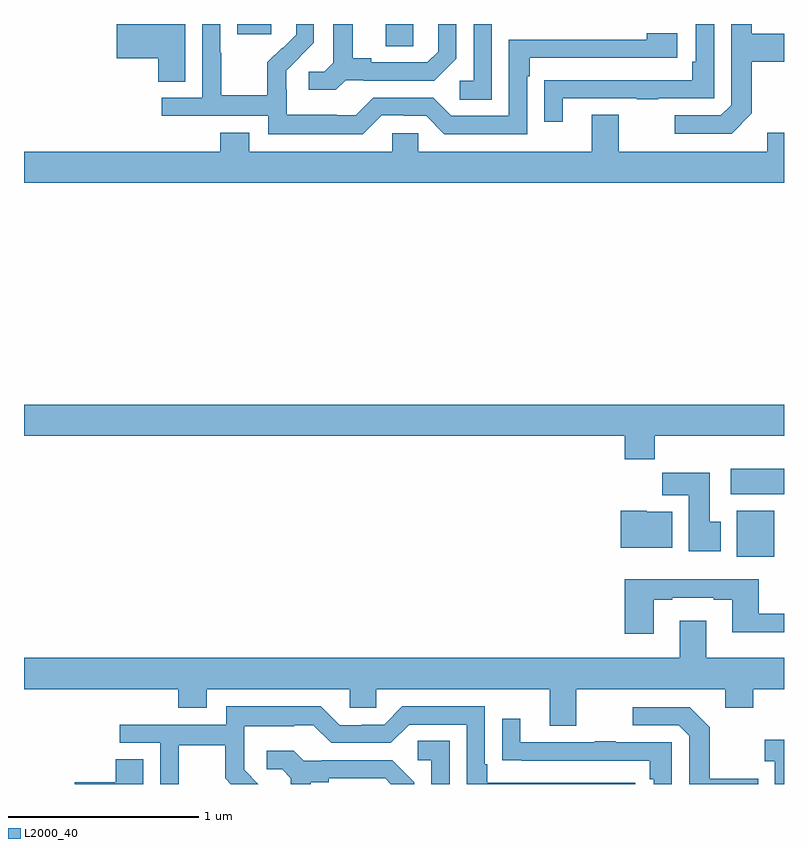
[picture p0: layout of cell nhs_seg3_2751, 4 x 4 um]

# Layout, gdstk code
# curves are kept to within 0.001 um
import gdstk
lib = gdstk.Library(unit=1e-6, precision=1e-09)
def R(c, l, rs):  # rectangles x0, y0, x1, y1
    for r in rs: c.add(gdstk.rectangle(r[:2], r[2:], *l))
def P(c, l, *ps):  # polygons
    for p in ps: c.add(gdstk.Polygon(p, *l))
L2000_40 = (2000, 40)

nhs_seg3_2751 = lib.new_cell('nhs_seg3_2751')
R(nhs_seg3_2751, L2000_40, [(256.751,717.596,256.948,717.838), (256.719,717.926,257,718.06), (254.903,720.283,255.048,720.4), (254.123,720.345,254.302,720.4)])
P(nhs_seg3_2751, L2000_40, [(254.694,720.105),(254.788,720.105),(254.788,720.102),(255.16,720.102),(255.276,720.218),(255.276,720.4),(255.179,720.4),(255.179,720.255),(255.122,720.198),(254.827,720.198),(254.827,720.221),(254.731,720.221),(254.731,720.4),(254.627,720.4),(254.627,720.197),(254.58,720.15),(254.499,720.15),(254.499,720.053),(254.642,720.053)],
  [(254.883,719.919),(254.999,719.919),(254.999,719.916),(255.117,719.916),(255.213,719.82),(255.648,719.82),(255.648,720.125),(255.661,720.125),(255.661,720.222),(256.438,720.222),(256.438,720.352),(256.277,720.352),(256.277,720.318),(255.552,720.318),(255.552,719.916),(255.249,719.916),(255.153,720.012),(254.838,720.012),(254.745,719.919),(254.645,719.919),(254.645,719.923),(254.382,719.923),(254.382,720.057),(254.38,720.057),(254.38,720.154),(254.526,720.302),(254.526,720.4),(254.432,720.4),(254.432,720.344),(254.361,720.273),(254.358,720.276),(254.281,720.199),(254.281,720.025),(254.037,720.025),(254.037,720.248),(254.034,720.248),(254.034,720.4),(253.938,720.4),(253.938,720.012),(253.725,720.012),(253.725,719.916),(254.286,719.916),(254.286,719.819),(254.783,719.819)],
  [(253.849,720.4),(253.488,720.4),(253.488,720.221),(253.706,720.221),(253.706,720.097),(253.849,720.097)],
  [(256.831,719.929),(256.831,720.202),(257,720.202),(257,720.349),(256.831,720.349),(256.831,720.4),(256.722,720.4),(256.722,719.973),(256.668,719.919),(256.425,719.919),(256.425,719.823),(256.725,719.823)],
  [(255.462,720.4),(255.366,720.4),(255.366,720.102),(255.294,720.102),(255.294,720.001),(255.462,720.001)],
  [(255.835,720.009),(256.225,720.009),(256.225,720.004),(256.337,720.004),(256.337,720.009),(256.632,720.009),(256.632,720.4),(256.536,720.4),(256.536,720.202),(256.516,720.202),(256.516,720.105),(255.841,720.105),(255.841,720.104),(255.739,720.104),(255.739,719.886),(255.835,719.886)],
  [(257,719.827),(256.913,719.827),(256.913,719.728),(256.129,719.728),(256.129,719.923),(255.989,719.923),(255.989,719.728),(255.075,719.728),(255.075,719.826),(254.937,719.826),(254.937,719.728),(254.185,719.728),(254.185,719.827),(254.033,719.827),(254.033,719.728),(253,719.728),(253,719.564),(257,719.564)],
  [(256.319,718.232),(257,718.232),(257,718.396),(253,718.396),(253,718.232),(256.163,718.232),(256.163,718.108),(256.319,718.108)],
  [(256.666,717.78),(256.609,717.78),(256.609,718.039),(256.36,718.039),(256.36,717.92),(256.499,717.92),(256.499,717.624),(256.666,717.624)],
  [(256.411,717.832),(256.278,717.832),(256.278,717.838),(256.142,717.838),(256.142,717.644),(256.411,717.644)],
  [(256.315,717.369),(256.411,717.369),(256.411,717.381),(256.631,717.381),(256.631,717.369),(256.727,717.369),(256.727,717.2),(257,717.2),(257,717.297),(256.867,717.297),(256.867,717.478),(256.163,717.478),(256.163,717.192),(256.315,717.192)],
  [(255.907,716.9),(256.691,716.9),(256.691,716.801),(256.839,716.801),(256.839,716.9),(257,716.9),(257,717.064),(256.591,717.064),(256.591,717.259),(256.451,717.259),(256.451,717.064),(253,717.064),(253,716.9),(253.811,716.9),(253.811,716.801),(253.963,716.801),(253.963,716.9),(254.715,716.9),(254.715,716.802),(254.853,716.802),(254.853,716.9),(255.767,716.9),(255.767,716.706),(255.907,716.706)],
  [(253.815,716.604),(254.059,716.604),(254.059,716.429),(254.088,716.4),(254.232,716.4),(254.158,716.474),(254.158,716.571),(254.16,716.571),(254.16,716.705),(254.423,716.705),(254.423,716.709),(254.523,716.709),(254.616,716.616),(254.931,716.616),(255.027,716.712),(255.33,716.712),(255.33,716.4),(256.216,716.4),(256.216,716.406),(255.439,716.406),(255.439,716.503),(255.426,716.503),(255.426,716.808),(254.991,716.808),(254.895,716.712),(254.777,716.712),(254.777,716.709),(254.661,716.709),(254.561,716.809),(254.064,716.809),(254.064,716.712),(253.503,716.712),(253.503,716.616),(253.716,716.616),(253.716,716.4),(253.815,716.4)],
  [(256.865,716.427),(256.609,716.427),(256.609,716.699),(256.503,716.805),(256.203,716.805),(256.203,716.709),(256.446,716.709),(256.5,716.655),(256.5,716.4),(256.865,716.4)],
  [(256.41,716.619),(256.115,716.619),(256.115,716.624),(256.003,716.624),(256.003,716.619),(255.613,716.619),(255.613,716.743),(255.517,716.743),(255.517,716.524),(255.619,716.524),(255.619,716.523),(256.294,716.523),(256.294,716.426),(256.314,716.426),(256.314,716.4),(256.41,716.4)],
  [(257,716.632),(256.899,716.632),(256.899,716.519),(256.95,716.519),(256.95,716.4),(257,716.4)],
  [(255.24,716.627),(255.072,716.627),(255.072,716.526),(255.144,716.526),(255.144,716.4),(255.24,716.4)],
  [(254.509,716.408),(254.605,716.408),(254.605,716.43),(254.9,716.43),(254.93,716.4),(255.054,716.4),(255.054,716.41),(254.938,716.526),(254.566,716.526),(254.566,716.523),(254.472,716.523),(254.42,716.575),(254.277,716.575),(254.277,716.478),(254.358,716.478),(254.405,716.431),(254.405,716.4),(254.509,716.4)],
  [(253.627,716.531),(253.484,716.531),(253.484,716.408),(253.266,716.408),(253.266,716.4),(253.627,716.4)])

lib.write_gds('nhs_seg3_2751.gds')
